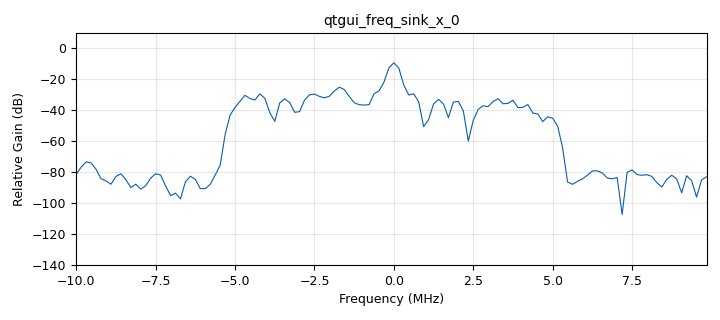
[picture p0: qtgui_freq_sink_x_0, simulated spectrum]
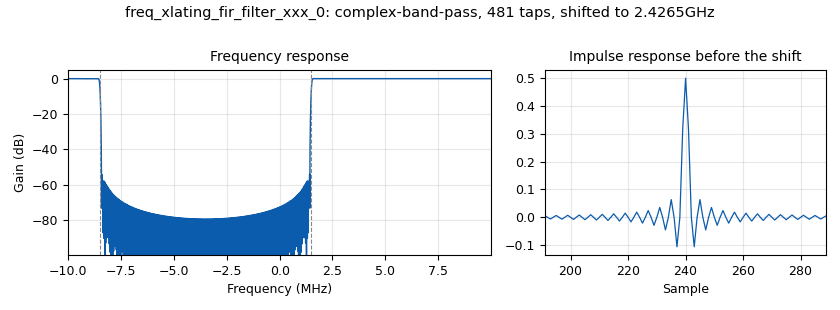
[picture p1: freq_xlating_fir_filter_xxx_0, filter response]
options:
  parameters:
    author: ashwin
    generate_options: qt_gui
    id: test_xlating_filter
    output_language: python
    title: Not titled yet
  states: {}

blocks:
- name: freq
  id: variable_qtgui_range
  parameters:
    start: 2.4165e9
    step: 1e6
    stop: 2.4365e9
    value: 2.4265e9
  states: {}
- name: samp_rate
  id: variable
  parameters:
    value: 20e6
  states: {}
- name: analog_noise_source_x_0
  id: analog_noise_source_x
  parameters:
    amp: '0.5'
    noise_type: analog.GR_GAUSSIAN
    seed: '0'
    type: complex
  states: {}
- name: analog_sig_source_x_0
  id: analog_sig_source_x
  parameters:
    amp: '1'
    freq: freq
    offset: '0'
    phase: '0'
    samp_rate: samp_rate
    type: complex
    waveform: analog.GR_COS_WAVE
  states: {}
- name: blocks_add_xx_0
  id: blocks_add_xx
  parameters:
    type: complex
  states: {}
- name: blocks_null_source_0
  id: blocks_null_source
  parameters:
    type: complex
  states: {state: disabled}
- name: blocks_throttle_0
  id: blocks_throttle
  parameters:
    samples_per_second: samp_rate
    type: complex
  states: {}
- name: blocks_throttle_0_0
  id: blocks_throttle
  parameters:
    samples_per_second: samp_rate
    type: complex
  states: {}
- name: freq_xlating_fir_filter_xxx_0
  id: freq_xlating_fir_filter_xxx
  parameters:
    center_freq: freq
    decim: '1'
    samp_rate: samp_rate
    taps: firdes.complex_band_pass(1, samp_rate, -samp_rate/4,samp_rate/4, 1e5)
    type: ccc
  states: {}
- name: qtgui_freq_sink_x_0
  id: qtgui_freq_sink_x
  parameters:
    bw: samp_rate
    fc: '0'
    fftsize: '128'
    type: complex
  states: {}

connections:
- [analog_noise_source_x_0, '0', blocks_throttle_0_0, '0']
- [analog_sig_source_x_0, '0', blocks_throttle_0, '0']
- [blocks_add_xx_0, '0', freq_xlating_fir_filter_xxx_0, '0']
- [blocks_throttle_0, '0', blocks_add_xx_0, '0']
- [blocks_throttle_0_0, '0', blocks_add_xx_0, '1']
- [freq_xlating_fir_filter_xxx_0, '0', qtgui_freq_sink_x_0, '0']

metadata:
  file_format: 1
